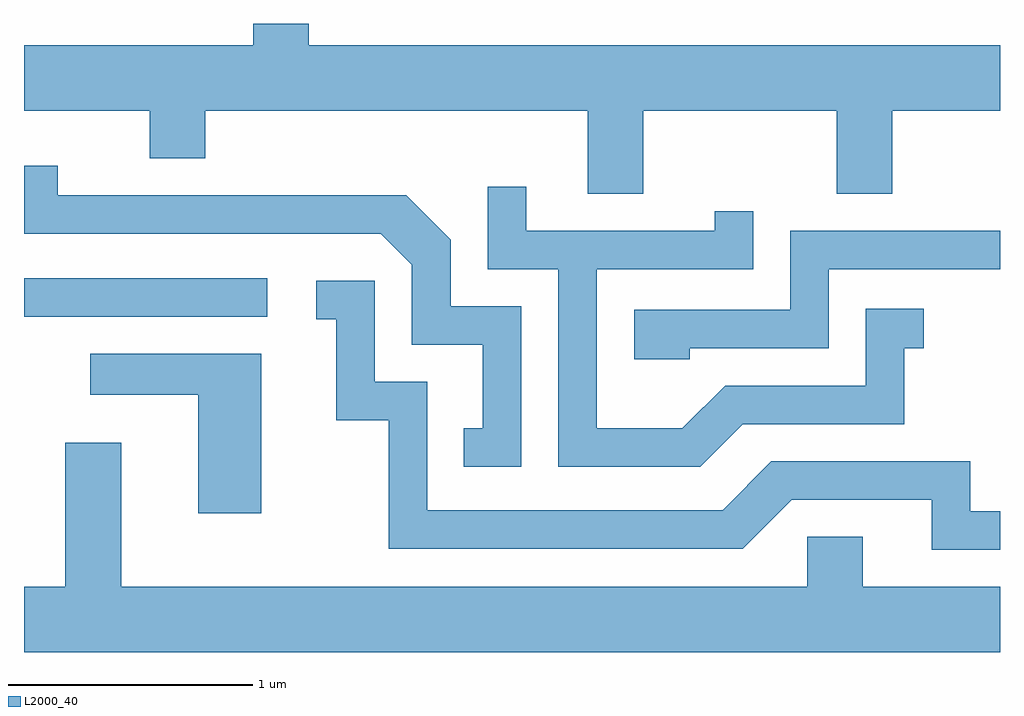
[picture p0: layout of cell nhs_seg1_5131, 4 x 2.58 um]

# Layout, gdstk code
import gdstk
lib = gdstk.Library(unit=1e-6, precision=1e-09)
def R(c, l, rs):  # rectangles x0, y0, x1, y1
    for r in rs: c.add(gdstk.rectangle(r[:2], r[2:], *l))
def P(c, l, *ps):  # polygons
    for p in ps: c.add(gdstk.Polygon(p, *l))
L2000_40 = (2000, 40)

nhs_seg1_5131 = lib.new_cell('nhs_seg1_5131')
R(nhs_seg1_5131, L2000_40, [(339.611,896.511,340.608,896.669)])
P(nhs_seg1_5131, L2000_40, [(342.149,897.356),(342.941,897.356),(342.941,897.016),(343.169,897.016),(343.169,897.356),(343.611,897.356),(343.611,897.624),(340.779,897.624),(340.779,897.712),(340.551,897.712),(340.551,897.624),(339.611,897.624),(339.611,897.356),(340.126,897.356),(340.126,897.161),(340.354,897.161),(340.354,897.356),(341.921,897.356),(341.921,897.016),(342.149,897.016)],
  [(341.649,896.554),(341.359,896.554),(341.359,896.827),(341.177,897.009),(339.749,897.009),(339.749,897.129),(339.611,897.129),(339.611,896.851),(341.074,896.851),(341.201,896.724),(341.201,896.396),(341.491,896.396),(341.491,896.054),(341.413,896.054),(341.413,895.896),(341.649,895.896)],
  [(342.557,896.071),(343.219,896.071),(343.219,896.381),(343.298,896.381),(343.298,896.544),(343.061,896.544),(343.061,896.229),(342.484,896.229),(342.309,896.054),(341.959,896.054),(341.959,896.706),(342.599,896.706),(342.599,896.943),(342.441,896.943),(342.441,896.864),(341.669,896.864),(341.669,897.043),(341.511,897.043),(341.511,896.706),(341.801,896.706),(341.801,895.896),(342.382,895.896)],
  [(342.339,896.381),(342.909,896.381),(342.909,896.706),(343.611,896.706),(343.611,896.864),(342.751,896.864),(342.751,896.539),(342.111,896.539),(342.111,896.336),(342.339,896.336)],
  [(343.611,895.714),(343.489,895.714),(343.489,895.919),(342.674,895.919),(342.474,895.719),(341.264,895.719),(341.264,896.244),(341.049,896.244),(341.049,896.659),(340.808,896.659),(340.808,896.501),(340.891,896.501),(340.891,896.086),(341.106,896.086),(341.106,895.561),(342.557,895.561),(342.757,895.761),(343.331,895.761),(343.331,895.556),(343.611,895.556)],
  [(340.584,896.359),(339.883,896.359),(339.883,896.191),(340.326,896.191),(340.326,895.706),(340.584,895.706)],
  [(343.611,895.404),(343.049,895.404),(343.049,895.609),(342.821,895.609),(342.821,895.404),(340.009,895.404),(340.009,895.994),(339.781,895.994),(339.781,895.404),(339.611,895.404),(339.611,895.136),(343.611,895.136)])

lib.write_gds('nhs_seg1_5131.gds')
